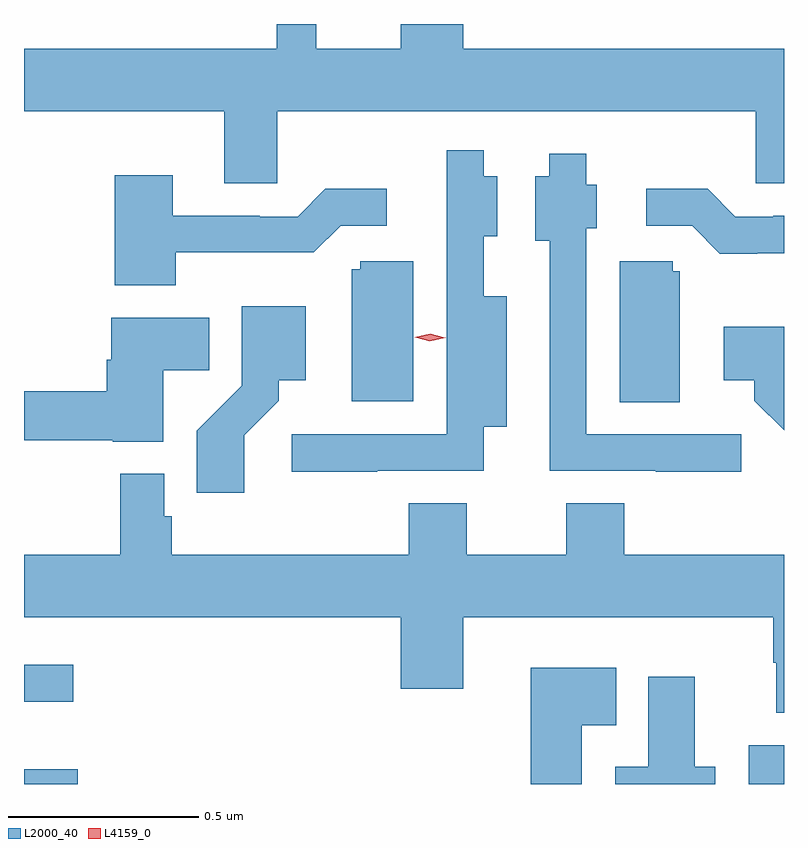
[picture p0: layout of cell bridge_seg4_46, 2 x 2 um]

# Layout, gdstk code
import gdstk
lib = gdstk.Library(unit=1e-6, precision=1e-09)
def R(c, l, rs):  # rectangles x0, y0, x1, y1
    for r in rs: c.add(gdstk.rectangle(r[:2], r[2:], *l))
def P(c, l, *ps):  # polygons
    for p in ps: c.add(gdstk.Polygon(p, *l))
L2000_40 = (2000, 40)
L4159_0 = (4159, 0)

bridge_seg4_46 = lib.new_cell('bridge_seg4_46')
R(bridge_seg4_46, L2000_40, [(667.512,803.041,667.654,803.08), (669.419,803.041,669.512,803.143), (667.512,803.258,667.642,803.355)])
P(bridge_seg4_46, L2000_40, [(668.178,804.812),(669.438,804.812),(669.438,804.622),(669.512,804.622),(669.512,804.976),(668.668,804.976),(668.668,805.041),(668.504,805.041),(668.504,804.976),(668.281,804.976),(668.281,805.041),(668.177,805.041),(668.177,804.976),(667.512,804.976),(667.512,804.812),(668.039,804.812),(668.039,804.622),(668.178,804.622)],
  [(668.441,803.865),(668.722,803.865),(668.722,803.981),(668.782,803.981),(668.782,804.325),(668.722,804.325),(668.722,804.482),(668.758,804.482),(668.758,804.64),(668.722,804.64),(668.722,804.709),(668.624,804.709),(668.624,804.486),(668.625,804.486),(668.625,804.221),(668.624,804.221),(668.624,803.961),(668.217,803.961),(668.217,803.863),(668.441,803.863)],
  [(669.4,803.961),(668.991,803.961),(668.991,804.504),(669.019,804.504),(669.019,804.618),(668.992,804.618),(668.992,804.7),(668.894,804.7),(668.894,804.64),(668.858,804.64),(668.858,804.47),(668.895,804.47),(668.895,803.865),(669.175,803.865),(669.175,803.863),(669.4,803.863)],
  [(667.911,804.44),(668.275,804.44),(668.346,804.51),(668.467,804.51),(668.467,804.607),(668.305,804.607),(668.232,804.534),(668.132,804.534),(668.132,804.537),(667.903,804.537),(667.903,804.643),(667.751,804.643),(667.751,804.353),(667.911,804.353)],
  [(669.442,804.438),(669.512,804.438),(669.512,804.537),(669.484,804.537),(669.484,804.534),(669.384,804.534),(669.311,804.607),(669.15,804.607),(669.15,804.51),(669.27,804.51),(669.343,804.437),(669.442,804.437)],
  [(668.536,804.417),(668.397,804.417),(668.397,804.396),(668.375,804.396),(668.375,804.048),(668.536,804.048)],
  [(669.238,804.39),(669.219,804.39),(669.219,804.417),(669.08,804.417),(669.08,804.046),(669.238,804.046)],
  [(668.092,803.959),(668.182,804.049),(668.182,804.104),(668.254,804.104),(668.254,804.298),(668.085,804.298),(668.085,804.089),(667.966,803.97),(667.966,803.808),(668.092,803.808)],
  [(667.879,804.13),(668,804.13),(668,804.268),(667.742,804.268),(667.742,804.158),(667.73,804.158),(667.73,804.074),(667.512,804.074),(667.512,803.946),(667.746,803.946),(667.746,803.942),(667.879,803.942)],
  [(669.512,804.244),(669.354,804.244),(669.354,804.104),(669.434,804.104),(669.434,804.049),(669.512,803.972)],
  [(669.512,803.644),(669.092,803.644),(669.092,803.78),(668.939,803.78),(668.939,803.644),(668.677,803.644),(668.677,803.78),(668.525,803.78),(668.525,803.644),(667.901,803.644),(667.901,803.745),(667.881,803.745),(667.881,803.857),(667.765,803.857),(667.765,803.644),(667.512,803.644),(667.512,803.48),(668.504,803.48),(668.504,803.292),(668.668,803.292),(668.668,803.48),(669.484,803.48),(669.484,803.36),(669.491,803.36),(669.491,803.228),(669.512,803.228)],
  [(668.98,803.195),(669.07,803.195),(669.07,803.347),(668.846,803.347),(668.846,803.041),(668.98,803.041)],
  [(669.331,803.086),(669.277,803.086),(669.277,803.323),(669.155,803.323),(669.155,803.086),(669.068,803.086),(669.068,803.041),(669.331,803.041)])
P(bridge_seg4_46, L4159_0, [(668.58,804.206),(668.54,804.217),(668.539,804.217),(668.54,804.217),(668.581,804.226),(668.621,804.215),(668.622,804.215),(668.621,804.215)])

lib.write_gds('bridge_seg4_46.gds')
